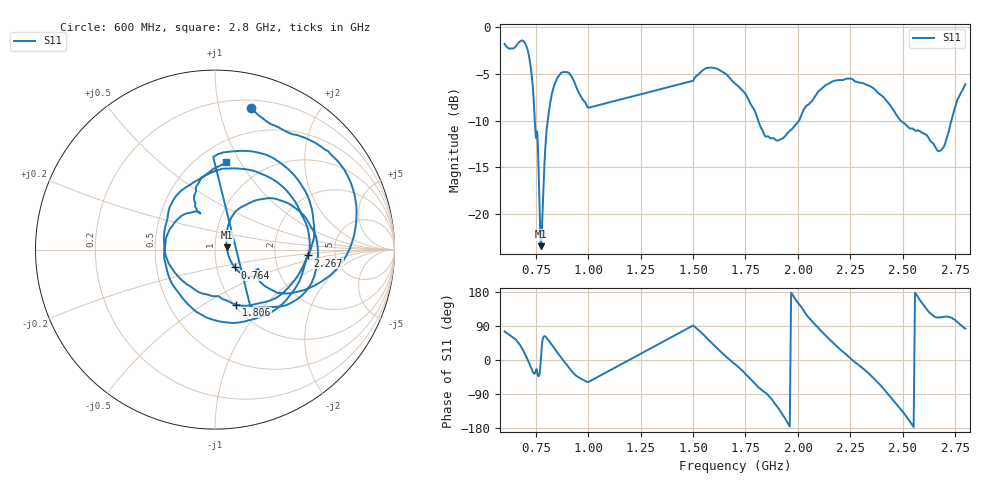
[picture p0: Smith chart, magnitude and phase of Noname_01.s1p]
!File created by NanoVNA
# Hz S RI R 50
!LO
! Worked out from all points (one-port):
!   402 points, 600 MHz to 2.8 GHz, reference 50 ohm
!   lowest |S11| = -23.4 dB at 774 MHz (marker M1), VSWR 1.14, Z = 57 + j1.54 ohm
!   |S11| at or under -10 dB: 743.9 MHz to 805.9 MHz (61.98 MHz wide, 8 % of centre); 1.811 GHz to 2.006 GHz (194.8 MHz wide, 10.2 % of centre); 2.49 GHz to 2.733 GHz (243.1 MHz wide, 9.31 % of centre)
!   S11 on the Smith chart (normalised r, x): 600 MHz: 0.27, +1.25; 764 MHz: 1.22, -0.25; 1.806 GHz: 1.03, -0.71; 2.267 GHz: 3.13, -0.28; 2.8 GHz: 0.68, +0.88
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6e8  0.202 0.7862
6.68e8  0.5933 0.5724
7e8  0.7878 0.1778
7.32e8  0.4593 -0.235
7.64e8  0.1102 -0.0992
7.74e8  0.066 0.0134
8.08e8  0.199 0.2629
8.76e8  0.5717 0.0176
9.28e8  0.4312 -0.2932
9.86e8  0.2206 -0.3252
9.96e8  0.1985 -0.3163
1e9  0.1961 -0.3136
1.5e9  -0.00987 0.5157
1.513e9  0.0474 0.5417
1.552e9  0.2461 0.5392
1.6235e9  0.5297 0.261
1.7015e9  0.4869 -0.1004
1.8055e9  0.1197 -0.3067
1.9095e9  -0.1562 -0.194
1.981e9  -0.2852 0.0668
2.111e9  0.1074 0.4526
2.254e9  0.5285 0.0282
2.267e9  0.5176 -0.0324
2.4035e9  0.1291 -0.4066
2.527e9  -0.2667 -0.1175
2.6115e9  -0.1932 0.1836
2.683e9  -0.0837 0.2017
2.8e9  0.0627 0.4904
